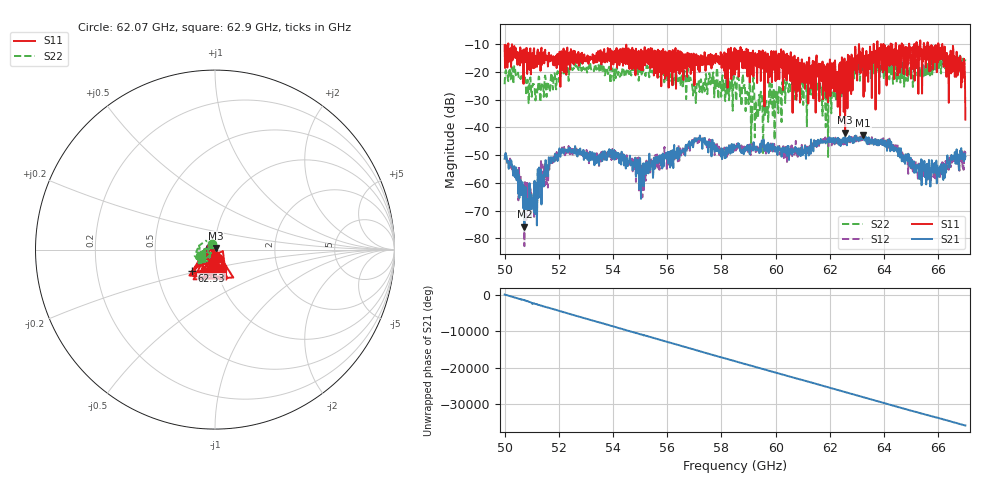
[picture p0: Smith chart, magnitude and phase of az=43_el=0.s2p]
!Created with skrf (http://scikit-rf.org).
# GHz S RI R 50.0
!freq ReS11 ImS11 ReS21 ImS21 ReS12 ImS12 ReS22 ImS22
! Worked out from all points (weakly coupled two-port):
!   1001 points, 50 GHz to 67 GHz, reference 50 ohm
!   highest |S21| = -42.93 dB at 63.23 GHz (marker M1); lowest = -75.8 dB at 50.73 GHz (marker M2)
!   lowest |S11| = -41.9 dB at 62.56 GHz (marker M3), VSWR 1.02, Z = 50.4 + j0.675 ohm
!   |S11| at or under -10 dB: 50.14 GHz to 63.07 GHz (12.94 GHz wide, 22.9 % of centre); 63.07 GHz to 63.62 GHz (543.5 MHz wide, 0.858 % of centre); 66.15 GHz to end of sweep (the widest 3 of 18)
!   |S22| runs from -50.7 to -14.1 dB; largest |S21 - S12| = 0.0024
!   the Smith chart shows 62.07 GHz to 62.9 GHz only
!   S11 on the Smith chart (normalised r, x): 62.07 GHz: 1.03, -0.10; 62.53 GHz: 0.76, -0.19; 62.9 GHz: 1.06, -0.22
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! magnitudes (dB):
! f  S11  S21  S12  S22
! 50 GHz  -10.3  -51.3  -50.0  -24.5
! 50.73 GHz  -11.9  -75.8  -82.8  -23.2
! 51 GHz  -13.4  -66.8  -67.5  -29.0
! 52.04 GHz  -12.8  -48.2  -47.4  -23.0
! 52.84 GHz  -14.5  -49.8  -49.7  -19.6
! 54.34 GHz  -16.6  -50.8  -52.5  -19.2
! 55.05 GHz  -19.5  -55.1  -53.8  -20.6
! 55.68 GHz  -13.9  -50.4  -50.9  -21.9
! 57.12 GHz  -14.5  -44.4  -46.1  -24.4
! 58.5 GHz  -21.0  -47.2  -46.4  -24.2
! 59.61 GHz  -13.2  -46.4  -45.8  -35.9
! 60.64 GHz  -14.6  -48.8  -48.2  -22.6
! 61.34 GHz  -23.7  -47.3  -47.0  -25.7
! 62.07 GHz  -26.0  -45.4  -46.5  -28.5
! 62.53 GHz  -15.2  -45.4  -44.6  -19.3
! 62.56 GHz  -41.9  -45.6  -46.1  -20.0
! 62.9 GHz  -19.2  -45.5  -43.4  -22.3
! 63.23 GHz  -14.0  -42.9  -44.1  -20.7
! 64.18 GHz  -17.8  -46.9  -47.4  -18.7
! 66.08 GHz  -15.4  -55.7  -54.8  -15.7
! 66.9 GHz  -16.6  -50.6  -54.3  -15.1
! 67 GHz  -37.2  -50.6  -48.8  -15.5
